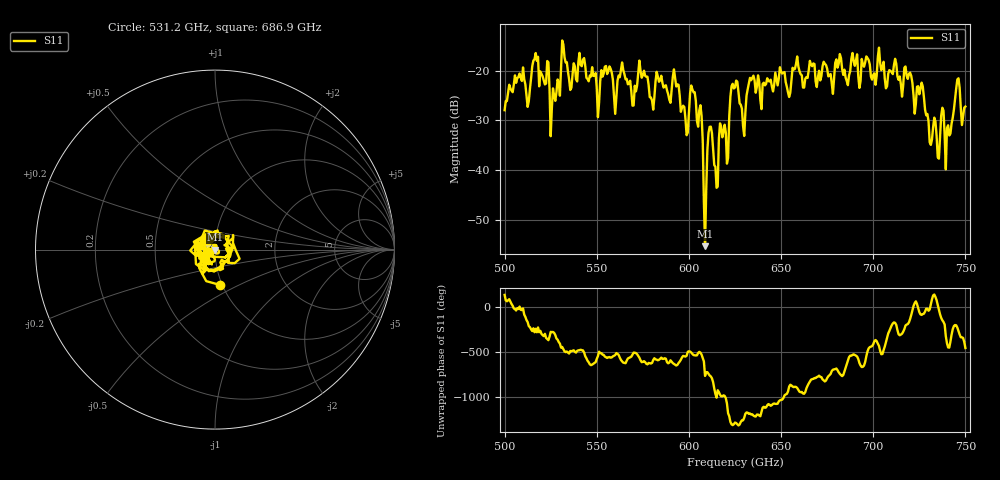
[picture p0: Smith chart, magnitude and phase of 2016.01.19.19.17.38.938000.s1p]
!Created with skrf (http://scikit-rf.org).
# GHz S RI R 50.0
!freq ReS11 ImS11
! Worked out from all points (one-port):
!   401 points, 500 GHz to 750 GHz, reference 50 ohm
!   lowest |S11| = -55.2 dB at 608.8 GHz (marker M1), VSWR 1.00, Z = 50.1 - j0.12 ohm
!   |S11| at or under -10 dB: start of sweep to end of sweep
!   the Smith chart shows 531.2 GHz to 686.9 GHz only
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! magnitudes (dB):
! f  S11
! 500 GHz  -28.0
! 508.8 GHz  -21.4
! 513.1 GHz  -26.1
! 516.9 GHz  -16.5
! 526.2 GHz  -23.6
! 531.2 GHz  -14.0
! 550.6 GHz  -29.4
! 562.5 GHz  -21.3
! 570 GHz  -27.0
! 574.4 GHz  -21.4
! 580 GHz  -26.0
! 593.8 GHz  -22.8
! 598.8 GHz  -33.0
! 602.5 GHz  -24.4
! 606.2 GHz  -27.0
! 608.8 GHz  -55.2
! 611.2 GHz  -31.3
! 615 GHz  -43.5
! 625 GHz  -23.4
! 629.4 GHz  -31.1
! 633.8 GHz  -21.9
! 656.2 GHz  -19.5
! 687.5 GHz  -20.2
! 718.8 GHz  -21.7
! 735 GHz  -37.4
! 740.6 GHz  -31.0
! 745.6 GHz  -21.8
! 750 GHz  -27.2
